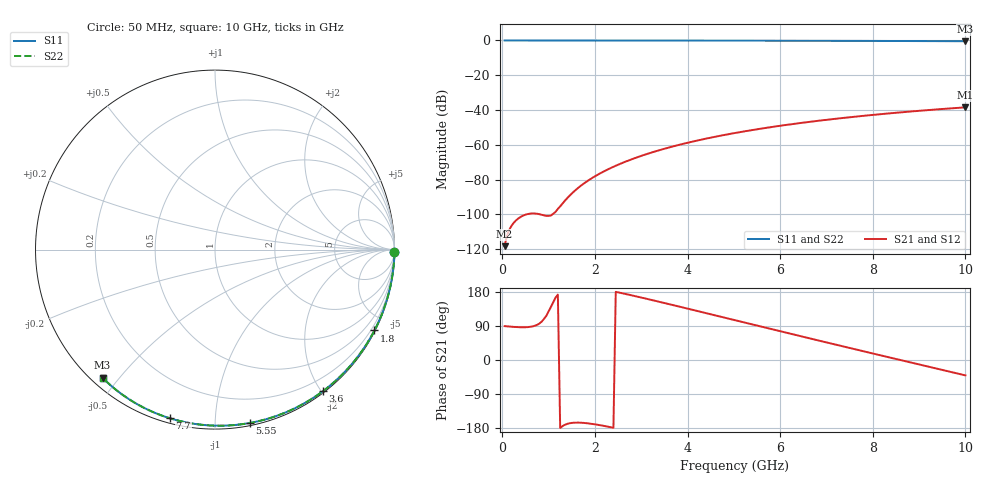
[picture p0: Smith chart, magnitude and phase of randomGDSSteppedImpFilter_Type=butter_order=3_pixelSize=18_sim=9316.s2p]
! freq	dB(S11)	phase(S11)	dB(S12)	phase(S12)
!  dB(S21)	phase(S21)	dB(S22)	phase(S22)
!S-par simulation data
#  GHz  S  DB  R 50
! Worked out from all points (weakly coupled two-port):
!   200 points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, 50 MHz to 10 GHz, reference 50 ohm
!   highest |S21| = -38.47 dB at 10 GHz (marker M1); lowest = -118.3 dB at 50 MHz (marker M2)
!   lowest |S11| = -0.4 dB at 10 GHz (marker M3), VSWR 39.09, Z = 1.54 - j22.6 ohm
!   |S11| at or under -10 dB: nowhere
!   |S22| runs from -0.4 to 0.0 dB; largest |S21 - S12| = 0
!   S11 on the Smith chart (normalised r, x): 50 MHz: open; 1.8 GHz: 0.04, -4.18; 3.6 GHz: 0.02, -2.02; 5.55 GHz: 0.02, -1.22; 7.7 GHz: 0.02, -0.77; 10 GHz: 0.03, -0.45
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0.05  -0.00 -0.8  -118.33 89.4  -118.33 89.4  -0.00 -0.8
0.45  -0.01 -6.8  -100.75 86.3  -100.75 86.3  -0.01 -6.8
0.9  -0.02 -13.6  -100.64 108.3  -100.64 108.3  -0.02 -13.6
1.75  -0.03 -26.2  -82.50 -165.9  -82.50 -165.9  -0.03 -26.2
1.8  -0.03 -26.9  -81.55 -166.5  -81.55 -166.5  -0.03 -26.9
1.9  -0.04 -28.4  -79.78 -167.9  -79.78 -167.9  -0.04 -28.4
2.05  -0.04 -30.6  -77.38 -170.7  -77.38 -170.7  -0.04 -30.6
2.25  -0.04 -33.5  -74.55 -175.2  -74.55 -175.2  -0.04 -33.5
2.45  -0.05 -36.4  -72.05 179.8  -72.05 179.8  -0.05 -36.4
2.65  -0.05 -39.2  -69.82 174.6  -69.82 174.6  -0.05 -39.2
3  -0.06 -44.2  -66.40 164.8  -66.40 164.8  -0.06 -44.2
3.4  -0.07 -49.8  -63.05 153.3  -63.05 153.3  -0.07 -49.8
3.6  -0.07 -52.6  -61.56 147.5  -61.56 147.5  -0.07 -52.6
4.3  -0.09 -62.2  -57.04 126.7  -57.04 126.7  -0.09 -62.2
5.05  -0.11 -72.1  -53.11 104.3  -53.11 104.3  -0.11 -72.1
5.55  -0.13 -78.6  -50.88 89.4  -50.88 89.4  -0.13 -78.6
6.1  -0.15 -85.5  -48.70 73.0  -48.70 73.0  -0.15 -85.5
6.7  -0.18 -92.9  -46.60 55.2  -46.60 55.2  -0.18 -92.9
7.7  -0.24 -104.9  -43.62 25.9  -43.62 25.9  -0.24 -104.9
8.35  -0.29 -112.5  -41.95 7.0  -41.95 7.0  -0.29 -112.5
9.15  -0.36 -121.7  -40.14 -16.0  -40.14 -16.0  -0.36 -121.7
10  -0.44 -131.3  -38.47 -40.6  -38.47 -40.6  -0.44 -131.3
